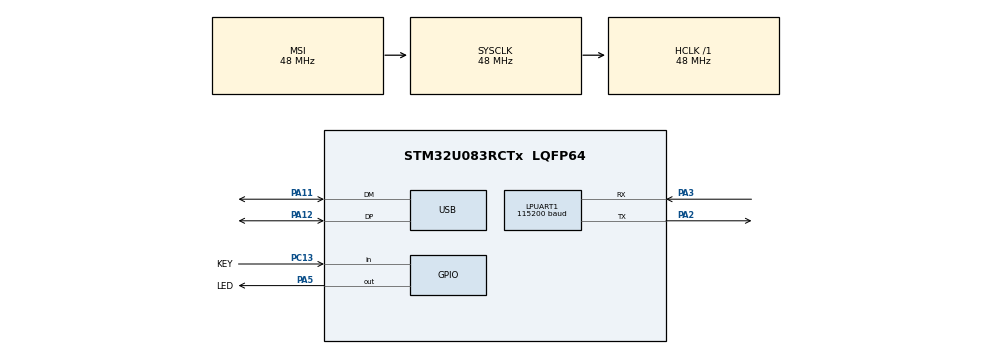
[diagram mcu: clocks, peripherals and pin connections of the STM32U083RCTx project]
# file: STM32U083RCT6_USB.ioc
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Dma.LPUART1_RX.0.Direction=DMA_PERIPH_TO_MEMORY
Dma.LPUART1_RX.0.EventEnable=DISABLE
Dma.LPUART1_RX.0.Instance=DMA1_Channel1
Dma.LPUART1_RX.0.MemDataAlignment=DMA_MDATAALIGN_BYTE
Dma.LPUART1_RX.0.MemInc=DMA_MINC_ENABLE
Dma.LPUART1_RX.0.Mode=DMA_NORMAL
Dma.LPUART1_RX.0.PeriphDataAlignment=DMA_PDATAALIGN_BYTE
Dma.LPUART1_RX.0.PeriphInc=DMA_PINC_DISABLE
Dma.LPUART1_RX.0.Polarity=HAL_DMAMUX_REQ_GEN_RISING
Dma.LPUART1_RX.0.Priority=DMA_PRIORITY_LOW
Dma.LPUART1_RX.0.RequestNumber=1
Dma.LPUART1_RX.0.SignalID=NONE
Dma.LPUART1_RX.0.SyncEnable=DISABLE
Dma.LPUART1_RX.0.SyncPolarity=HAL_DMAMUX_SYNC_NO_EVENT
Dma.LPUART1_RX.0.SyncRequestNumber=1
Dma.LPUART1_RX.0.SyncSignalID=NONE
Dma.LPUART1_TX.1.Direction=DMA_MEMORY_TO_PERIPH
Dma.LPUART1_TX.1.EventEnable=DISABLE
Dma.LPUART1_TX.1.Instance=DMA1_Channel2
Dma.LPUART1_TX.1.MemDataAlignment=DMA_MDATAALIGN_BYTE
Dma.LPUART1_TX.1.MemInc=DMA_MINC_ENABLE
Dma.LPUART1_TX.1.Mode=DMA_NORMAL
Dma.LPUART1_TX.1.PeriphDataAlignment=DMA_PDATAALIGN_BYTE
Dma.LPUART1_TX.1.PeriphInc=DMA_PINC_DISABLE
Dma.LPUART1_TX.1.Polarity=HAL_DMAMUX_REQ_GEN_RISING
Dma.LPUART1_TX.1.Priority=DMA_PRIORITY_LOW
Dma.LPUART1_TX.1.RequestNumber=1
Dma.LPUART1_TX.1.SignalID=NONE
Dma.LPUART1_TX.1.SyncEnable=DISABLE
Dma.LPUART1_TX.1.SyncPolarity=HAL_DMAMUX_SYNC_NO_EVENT
Dma.LPUART1_TX.1.SyncRequestNumber=1
Dma.LPUART1_TX.1.SyncSignalID=NONE
Dma.Request0=LPUART1_RX
Dma.Request1=LPUART1_TX
LPUART1.BaudRate=115200
Mcu.Family=STM32U0
Mcu.Name=STM32U083RCTx
Mcu.Package=LQFP64
NVIC.DMA1_Channel1_IRQn=true\:0\:0\:false\:false\:true\:false\:true\:true
NVIC.DMA1_Channel2_3_IRQn=true\:0\:0\:false\:false\:true\:false\:true\:true
NVIC.PriorityGroup=NVIC_PRIORITYGROUP_2
NVIC.USART3_LPUART1_IRQn=true\:0\:0\:false\:false\:true\:true\:true\:true
PA11\ [PA9].Mode=Device
PA11\ [PA9].Signal=USB_DM
PA12\ [PA10].Mode=Device
PA12\ [PA10].Signal=USB_DP
PA13\ (SWDIO).Mode=Serial_Wire
PA13\ (SWDIO).Signal=DEBUG_JTMS-SWDIO
PA14\ (SWCLK).Mode=Serial_Wire
PA14\ (SWCLK).Signal=DEBUG_JTCK-SWCLK
PA2.Mode=Asynchronous
PA2.Signal=LPUART1_TX
PA3.Mode=Asynchronous
PA3.Signal=LPUART1_RX
PA5.GPIO_Label=LED
PA5.GPIO_PuPd=GPIO_PULLUP
PA5.Signal=GPIO_Output
PC13.GPIO_Label=KEY
PC13.GPIO_PuPd=GPIO_PULLUP
PC13.Signal=GPIO_Input
ProjectManager.HeapSize=0x200
ProjectManager.StackSize=0x400
ProjectManager.TargetToolchain=STM32CubeIDE
RCC.ADCFreq_Value=48000000
RCC.AHBFreq_Value=48000000
RCC.CortexFreq_Value=48000000
RCC.HCLKFreq_Value=48000000
RCC.HSE_VALUE=8000000
RCC.HSI48_VALUE=48000000
RCC.HSI_VALUE=16000000
RCC.MSIClockRangeVal=RCC_MSIRANGE_11
RCC.MSI_VALUE=48000000
RCC.PLLN=12
RCC.SYSCLKFreq_VALUE=48000000
RCC.SYSCLKSource=RCC_SYSCLKSOURCE_MSI
RCC.USBFreq_Value=48000000
RCC.VCOOutputFreq_Value=192000000
USB.VirtualMode=Device_Only
USBX.BSP.number=1
USBX.Core_System=1
USBX.UX_DEVICE_HID_CORE=1
USBX.UX_DEVICE_HID_KEYBOARD=1
USBX.UX_Device_Controller=1
USBX.UX_Device_CoreStack=1
USBX0.BSP.STBoard=false
USBX0.BSP.api=Unknown
USBX0.BSP.instance=USB
USBX0.BSP.ip=USB
USBX0.BSP.mode=Device_Only
USBX0.BSP.name=USB_Device
USBX0.BSP.solution=USB
VP_PWR_VS_SECSignals.Mode=Security/Privilege
VP_USBX_Core_System.Mode=Core_System
VP_USBX_UX\ Device\ Controller_FS.Mode=UX_Device_Controller_FS
VP_USBX_UX\ Device\ CoreStack_FS.Mode=UX_Device_CoreStack_FS
VP_USBX_UX\ Device\ HID_CORE_FS.Mode=UX_Device_class_HID_CORE_FS
VP_USBX_UX\ Device\ HID_KEYBOARD_FS.Mode=UX_Device_class_HID_KEYBOARD_FS
board=custom

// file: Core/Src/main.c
/* USER CODE BEGIN Header */
/**
  ******************************************************************************
  * @file           : main.c
  * @brief          : Main program body
  ******************************************************************************
  * @attention
  *
  * Copyright (c) 2024 STMicroelectronics.
  * All rights reserved.
  *
  * This software is licensed under terms that can be found in the LICENSE file
  * in the root directory of this software component.
  * If no LICENSE file comes with this software, it is provided AS-IS.
  *
  ******************************************************************************
  */
/* USER CODE END Header */
#include "main.h"
#include "dma.h"
#include "usart.h"
#include "usb.h"
#include "app_usbx_device.h"
#include "gpio.h"

/* USER CODE BEGIN Includes */
uint32_t task1 = 0;
/* USER CODE END Includes */

void SystemClock_Config(void);

/* USER CODE BEGIN 0 */
uint8_t task_scheduling(uint32_t *task, uint32_t time)
{
  uint32_t sys_ms_timer = HAL_GetTick();
  if ((sys_ms_timer > *task) && ((sys_ms_timer - *task) > time))
  {
    *task = sys_ms_timer;
    return 1;
  }
  else if (*task > sys_ms_timer)
  {
    if (((0xffffffff - *task) + sys_ms_timer) > time)
    {
      *task = sys_ms_timer;
      return 1;
    }
  }
  return 0;
}

/* USER CODE END 0 */

int main(void)
{

  /* MCU Configuration--------------------------------------------------------*/

  /* Reset of all peripherals, Initializes the Flash interface and the Systick. */
  HAL_Init();

  /* Configure the system clock */
  SystemClock_Config();

  /* Initialize all configured peripherals */
  MX_GPIO_Init();
  MX_DMA_Init();
  MX_LPUART1_UART_Init();
  MX_USBX_Device_Init();
  /* USER CODE BEGIN 2 */

  EXTI->IMR1 |= 1<<0;
  HAL_NVIC_SetPriority(EXTI0_1_IRQn, 3, 0);
  HAL_NVIC_EnableIRQ(EXTI0_1_IRQn);

  __HAL_UART_ENABLE_IT(&hlpuart1, UART_IT_IDLE);
  HAL_UART_Receive_DMA(&hlpuart1,rx1_buffer,BUFFER_SIZE);
  /* USER CODE END 2 */

  /* Infinite loop */
  /* USER CODE BEGIN WHILE */
  while (1)
  {
    if (task_scheduling(&task1, 1000))
    {
      HAL_GPIO_TogglePin(LED_GPIO_Port, LED_Pin);
    }

    /* USER CODE END WHILE */

  }
}

void SystemClock_Config(void)
{
  RCC_OscInitTypeDef RCC_OscInitStruct = {0};
  RCC_ClkInitTypeDef RCC_ClkInitStruct = {0};

  /** Configure the main internal regulator output voltage
  */
  HAL_PWREx_ControlVoltageScaling(PWR_REGULATOR_VOLTAGE_SCALE1);

  /** Initializes the RCC Oscillators according to the specified parameters
  * in the RCC_OscInitTypeDef structure.
  */
  RCC_OscInitStruct.OscillatorType = RCC_OSCILLATORTYPE_MSI;
  RCC_OscInitStruct.MSIState = RCC_MSI_ON;
  RCC_OscInitStruct.MSICalibrationValue = RCC_MSICALIBRATION_DEFAULT;
  RCC_OscInitStruct.MSIClockRange = RCC_MSIRANGE_11;
  RCC_OscInitStruct.PLL.PLLState = RCC_PLL_NONE;
  if (HAL_RCC_OscConfig(&RCC_OscInitStruct) != HAL_OK)
  {
    Error_Handler();
  }

  /** Initializes the CPU, AHB and APB buses clocks
  */
  RCC_ClkInitStruct.ClockType = RCC_CLOCKTYPE_HCLK|RCC_CLOCKTYPE_SYSCLK
                              |RCC_CLOCKTYPE_PCLK1;
  RCC_ClkInitStruct.SYSCLKSource = RCC_SYSCLKSOURCE_MSI;
  RCC_ClkInitStruct.AHBCLKDivider = RCC_SYSCLK_DIV1;
  RCC_ClkInitStruct.APB1CLKDivider = RCC_HCLK_DIV1;

  if (HAL_RCC_ClockConfig(&RCC_ClkInitStruct, FLASH_LATENCY_1) != HAL_OK)
  {
    Error_Handler();
  }
}

void Error_Handler(void)
{
  __disable_irq();
  while (1)
  {
  }
}
